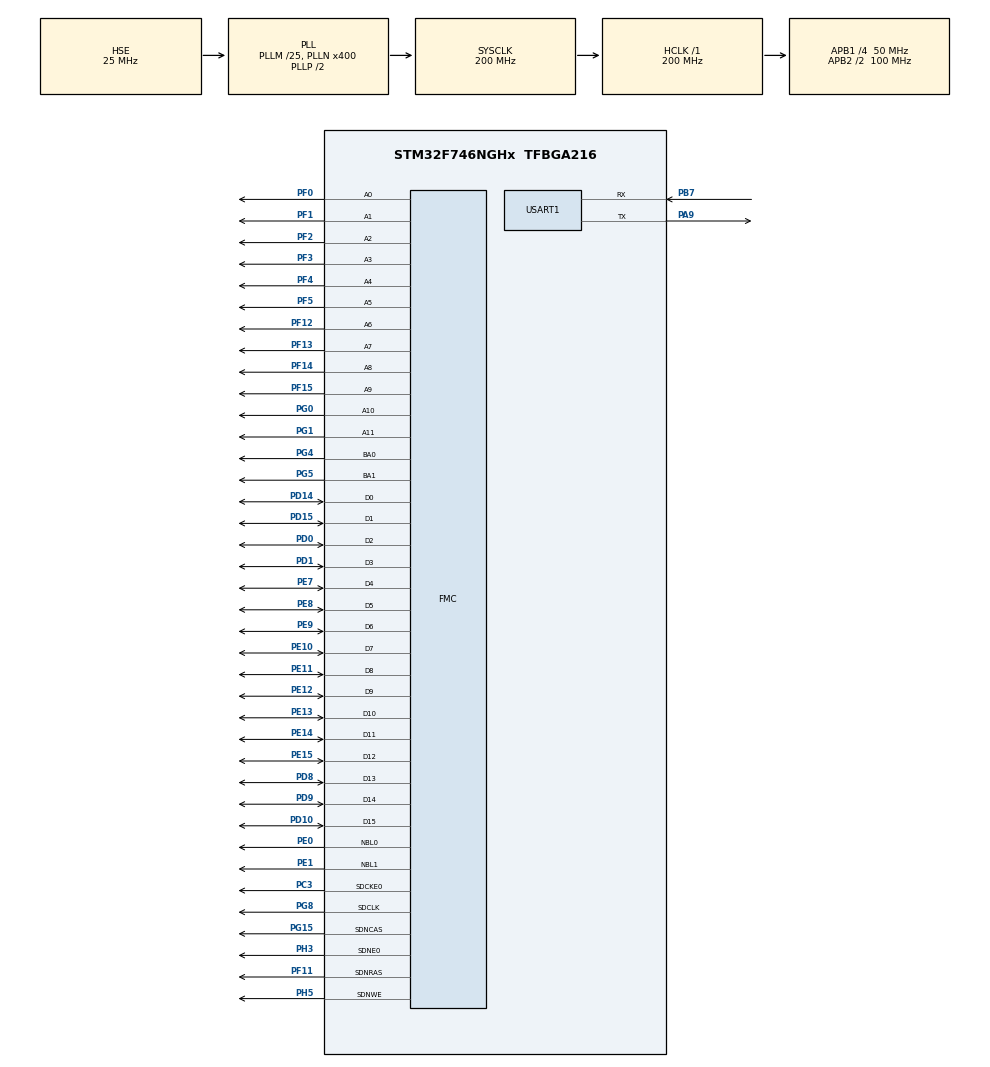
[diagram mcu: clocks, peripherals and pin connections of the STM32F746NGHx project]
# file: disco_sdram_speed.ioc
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CORTEX_M7.ART_ACCELERATOR_ENABLE=0
CORTEX_M7.AccessPermission-Cortex_Memory_Protection_Unit_Region0_Settings=MPU_REGION_NO_ACCESS
CORTEX_M7.AccessPermission-Cortex_Memory_Protection_Unit_Region1_Settings=MPU_REGION_FULL_ACCESS
CORTEX_M7.AccessPermission-Cortex_Memory_Protection_Unit_Region2_Settings=MPU_REGION_FULL_ACCESS
CORTEX_M7.BaseAddress-Cortex_Memory_Protection_Unit_Region0_Settings=0x00
CORTEX_M7.BaseAddress-Cortex_Memory_Protection_Unit_Region1_Settings=0xC0000000
CORTEX_M7.BaseAddress-Cortex_Memory_Protection_Unit_Region2_Settings=0xA0000000
CORTEX_M7.CPU_DCache=Enabled
CORTEX_M7.CPU_ICache=Enabled
CORTEX_M7.DisableExec-Cortex_Memory_Protection_Unit_Region0_Settings=MPU_INSTRUCTION_ACCESS_DISABLE
CORTEX_M7.DisableExec-Cortex_Memory_Protection_Unit_Region1_Settings=MPU_INSTRUCTION_ACCESS_ENABLE
CORTEX_M7.DisableExec-Cortex_Memory_Protection_Unit_Region2_Settings=MPU_INSTRUCTION_ACCESS_DISABLE
CORTEX_M7.Enable-Cortex_Memory_Protection_Unit_Region0_Settings=MPU_REGION_ENABLE
CORTEX_M7.Enable-Cortex_Memory_Protection_Unit_Region1_Settings=MPU_REGION_ENABLE
CORTEX_M7.Enable-Cortex_Memory_Protection_Unit_Region2_Settings=MPU_REGION_ENABLE
CORTEX_M7.IsBufferable-Cortex_Memory_Protection_Unit_Region1_Settings=MPU_ACCESS_BUFFERABLE
CORTEX_M7.IsBufferable-Cortex_Memory_Protection_Unit_Region2_Settings=MPU_ACCESS_BUFFERABLE
CORTEX_M7.IsCacheable-Cortex_Memory_Protection_Unit_Region0_Settings=MPU_ACCESS_NOT_CACHEABLE
CORTEX_M7.IsCacheable-Cortex_Memory_Protection_Unit_Region1_Settings=MPU_ACCESS_CACHEABLE
CORTEX_M7.IsShareable-Cortex_Memory_Protection_Unit_Region0_Settings=MPU_ACCESS_SHAREABLE
CORTEX_M7.IsShareable-Cortex_Memory_Protection_Unit_Region2_Settings=MPU_ACCESS_SHAREABLE
CORTEX_M7.MPU_Control=MPU_PRIVILEGED_DEFAULT
CORTEX_M7.Size-Cortex_Memory_Protection_Unit_Region0_Settings=MPU_REGION_SIZE_4GB
CORTEX_M7.Size-Cortex_Memory_Protection_Unit_Region1_Settings=MPU_REGION_SIZE_16MB
CORTEX_M7.Size-Cortex_Memory_Protection_Unit_Region2_Settings=MPU_REGION_SIZE_8KB
CORTEX_M7.SubRegionDisable-Cortex_Memory_Protection_Unit_Region0_Settings=0x87
CORTEX_M7.SubRegionDisable-Cortex_Memory_Protection_Unit_Region1_Settings=0x00
CORTEX_M7.TypeExtField-Cortex_Memory_Protection_Unit_Region1_Settings=MPU_TEX_LEVEL1
FMC.CASLatency1=FMC_SDRAM_CAS_LATENCY_2
FMC.ExitSelfRefreshDelay1=6
FMC.LoadToActiveDelay1=2
FMC.RCDDelay1=2
FMC.RPDelay1=2
FMC.ReadBurst1=FMC_SDRAM_RBURST_ENABLE
FMC.ReadBurst2=FMC_SDRAM_RBURST_ENABLE
FMC.RowCycleDelay1=6
FMC.SDClockPeriod1=FMC_SDRAM_CLOCK_PERIOD_2
FMC.SDClockPeriod2=FMC_SDRAM_CLOCK_PERIOD_2
FMC.SelfRefreshTime1=4
FMC.WriteRecoveryTime1=2
Mcu.Family=STM32F7
Mcu.Name=STM32F746NGHx
Mcu.Package=TFBGA216
NVIC.FMC_IRQn=true\:0\:0\:false\:false\:true\:true\:true\:true
NVIC.PriorityGroup=NVIC_PRIORITYGROUP_4
NVIC.TIM6_DAC_IRQn=true\:15\:0\:false\:false\:true\:false\:true\:true
NVIC.TimeBase=TIM6_DAC_IRQn
NVIC.TimeBaseIP=TIM6
NVIC.USART1_IRQn=true\:0\:0\:false\:false\:true\:true\:true\:true
PA13.Mode=Serial_Wire
PA13.Signal=SYS_JTMS-SWDIO
PA14.Mode=Serial_Wire
PA14.Signal=SYS_JTCK-SWCLK
PA9.Mode=Asynchronous
PA9.Signal=USART1_TX
PB7.Mode=Asynchronous
PB7.Signal=USART1_RX
PC14/OSC32_IN.Mode=LSE-External-Oscillator
PC14/OSC32_IN.Signal=RCC_OSC32_IN
PC15/OSC32_OUT.Mode=LSE-External-Oscillator
PC15/OSC32_OUT.Signal=RCC_OSC32_OUT
PC3.Mode=SdramChipSelect1_1
PC3.Signal=FMC_SDCKE0
PD0.Signal=FMC_D2_DA2
PD1.Signal=FMC_D3_DA3
PD10.Signal=FMC_D15_DA15
PD14.Signal=FMC_D0_DA0
PD15.Signal=FMC_D1_DA1
PD8.Signal=FMC_D13_DA13
PD9.Signal=FMC_D14_DA14
PE0.Signal=FMC_NBL0
PE1.Signal=FMC_NBL1
PE10.Signal=FMC_D7_DA7
PE11.Signal=FMC_D8_DA8
PE12.Signal=FMC_D9_DA9
PE13.Signal=FMC_D10_DA10
PE14.Signal=FMC_D11_DA11
PE15.Signal=FMC_D12_DA12
PE7.Signal=FMC_D4_DA4
PE8.Signal=FMC_D5_DA5
PE9.Signal=FMC_D6_DA6
PF0.Signal=FMC_A0
PF1.Signal=FMC_A1
PF11.Signal=FMC_SDNRAS
PF12.Signal=FMC_A6
PF13.Signal=FMC_A7
PF14.Signal=FMC_A8
PF15.Signal=FMC_A9
PF2.Signal=FMC_A2
PF3.Signal=FMC_A3
PF4.Signal=FMC_A4
PF5.Signal=FMC_A5
PG0.Signal=FMC_A10
PG1.Signal=FMC_A11
PG15.Signal=FMC_SDNCAS
PG4.Signal=FMC_A14_BA0
PG5.Signal=FMC_A15_BA1
PG8.Signal=FMC_SDCLK
PH0/OSC_IN.Mode=HSE-External-Oscillator
PH0/OSC_IN.Signal=RCC_OSC_IN
PH1/OSC_OUT.Mode=HSE-External-Oscillator
PH1/OSC_OUT.Signal=RCC_OSC_OUT
PH3.Mode=SdramChipSelect1_1
PH3.Signal=FMC_SDNE0
PH5.Signal=FMC_SDNWE
ProjectManager.HeapSize=0x200
ProjectManager.StackSize=0x400
ProjectManager.TargetToolchain=STM32CubeIDE
RCC.AHBFreq_Value=200000000
RCC.APB1CLKDivider=RCC_HCLK_DIV4
RCC.APB1Freq_Value=50000000
RCC.APB1TimFreq_Value=100000000
RCC.APB2CLKDivider=RCC_HCLK_DIV2
RCC.APB2Freq_Value=100000000
RCC.APB2TimFreq_Value=200000000
RCC.CortexFreq_Value=200000000
RCC.HCLKFreq_Value=200000000
RCC.HSE_VALUE=25000000
RCC.HSI_VALUE=16000000
RCC.PLL48CLockSelection=RCC_CLK48SOURCE_PLLSAIP
RCC.PLLI2SN=100
RCC.PLLM=25
RCC.PLLN=400
RCC.PLLQ=9
RCC.PLLSAIN=384
RCC.PLLSAIP=RCC_PLLSAIP_DIV8
RCC.PLLSAIR=5
RCC.PLLSAIRDiv=RCC_PLLSAIDIVR_8
RCC.PLLSourceVirtual=RCC_PLLSOURCE_HSE
RCC.SDMMCClockSelection=RCC_SDMMC1CLKSOURCE_CLK48
RCC.SYSCLKFreq_VALUE=200000000
RCC.SYSCLKSource=RCC_SYSCLKSOURCE_PLLCLK
RCC.USBFreq_Value=48000000
RCC.VCOOutputFreq_Value=400000000
SH.FMC_A0.0=FMC_A0,12b-sda1
SH.FMC_A1.0=FMC_A1,12b-sda1
SH.FMC_A10.0=FMC_A10,12b-sda1
SH.FMC_A11.0=FMC_A11,12b-sda1
SH.FMC_A14_BA0.0=FMC_BA0,FourSdramBanks1
SH.FMC_A15_BA1.0=FMC_BA1,FourSdramBanks1
SH.FMC_A2.0=FMC_A2,12b-sda1
SH.FMC_A3.0=FMC_A3,12b-sda1
SH.FMC_A4.0=FMC_A4,12b-sda1
SH.FMC_A5.0=FMC_A5,12b-sda1
SH.FMC_A6.0=FMC_A6,12b-sda1
SH.FMC_A7.0=FMC_A7,12b-sda1
SH.FMC_A8.0=FMC_A8,12b-sda1
SH.FMC_A9.0=FMC_A9,12b-sda1
SH.FMC_D0_DA0.0=FMC_D0,sd-16b-d1
SH.FMC_D10_DA10.0=FMC_D10,sd-16b-d1
SH.FMC_D11_DA11.0=FMC_D11,sd-16b-d1
SH.FMC_D12_DA12.0=FMC_D12,sd-16b-d1
SH.FMC_D13_DA13.0=FMC_D13,sd-16b-d1
SH.FMC_D14_DA14.0=FMC_D14,sd-16b-d1
SH.FMC_D15_DA15.0=FMC_D15,sd-16b-d1
SH.FMC_D1_DA1.0=FMC_D1,sd-16b-d1
SH.FMC_D2_DA2.0=FMC_D2,sd-16b-d1
SH.FMC_D3_DA3.0=FMC_D3,sd-16b-d1
SH.FMC_D4_DA4.0=FMC_D4,sd-16b-d1
SH.FMC_D5_DA5.0=FMC_D5,sd-16b-d1
SH.FMC_D6_DA6.0=FMC_D6,sd-16b-d1
SH.FMC_D7_DA7.0=FMC_D7,sd-16b-d1
SH.FMC_D8_DA8.0=FMC_D8,sd-16b-d1
SH.FMC_D9_DA9.0=FMC_D9,sd-16b-d1
SH.FMC_NBL0.0=FMC_NBL0,Sd2ByteEnable1
SH.FMC_NBL1.0=FMC_NBL1,Sd2ByteEnable1
SH.FMC_SDCLK.0=FMC_SDCLK,12b-sda1
SH.FMC_SDNCAS.0=FMC_SDNCAS,12b-sda1
SH.FMC_SDNRAS.0=FMC_SDNRAS,12b-sda1
SH.FMC_SDNWE.0=FMC_SDNWE,12b-sda1
USART1.VirtualMode-Asynchronous=VM_ASYNC
VP_SYS_VS_tim6.Mode=TIM6
board=STM32F746G-DISCO

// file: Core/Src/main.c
/* USER CODE BEGIN Header */
/**
  ******************************************************************************
  * @file           : main.c
  * @brief          : Main program body
  ******************************************************************************
  * @attention
  *
  * Copyright (c) 2025 STMicroelectronics.
  * All rights reserved.
  *
  * This software is licensed under terms that can be found in the LICENSE file
  * in the root directory of this software component.
  * If no LICENSE file comes with this software, it is provided AS-IS.
  *
  ******************************************************************************
  */
/* USER CODE END Header */
#include "main.h"

/* USER CODE BEGIN Includes */
#include <stdio.h>
#include <string.h>
/* USER CODE END Includes */

UART_HandleTypeDef huart1;

SDRAM_HandleTypeDef hsdram1;

/* USER CODE BEGIN PV */
FMC_SDRAM_CommandTypeDef command;
/* USER CODE END PV */

void SystemClock_Config(void);
static void MPU_Config(void);
static void MX_GPIO_Init(void);
static void MX_FMC_Init(void);
static void MX_USART1_UART_Init(void);
/* USER CODE BEGIN PFP */
static void BSP_SDRAM_Initialization_Sequence(SDRAM_HandleTypeDef *hsdram, FMC_SDRAM_CommandTypeDef *Command);

/* USER CODE END PFP */

/* USER CODE BEGIN 0 */
int _write(int file, char *ptr, int len) {
    for (int i = 0; i < len; i++) {
        HAL_UART_Transmit(&huart1, (uint8_t *)&ptr[i], 1, HAL_MAX_DELAY);
    }
    return len;
}

#define SDRAM_SIZE (6 * 1024 * 1024)  // 6MB SDRAM
#define SDRAM_BANK_ADDR 0xC0000000

void fill_sdram(void)
{
	printf("-----6mb wr test\n");
    uint32_t start_time, elapsed_time;

    start_time = HAL_GetTick();
    for (uint32_t i = 0; i < SDRAM_SIZE; i += sizeof(uint8_t)) {
        *(__IO uint8_t*) (SDRAM_BANK_ADDR + i) = 0x0;
    }
    elapsed_time = HAL_GetTick() - start_time;
    float write_speed_mb_s = ((float)SDRAM_SIZE / (1024.0f * 1024.0f)) / (elapsed_time / 1000.0f);
    printf("uint8_t  Gecen suresi: %lu ms.. Yazma hizi: %.2f MB/s\n", elapsed_time,write_speed_mb_s);

    start_time = HAL_GetTick();
    for (uint32_t i = 0; i < SDRAM_SIZE; i += sizeof(uint16_t)) {
        *(__IO uint16_t*) (SDRAM_BANK_ADDR + i) = 0x0;
    }
    elapsed_time = HAL_GetTick() - start_time;
    write_speed_mb_s = ((float)SDRAM_SIZE / (1024.0f * 1024.0f)) / (elapsed_time / 1000.0f);
    printf("uint16_t Gecen suresi: %lu ms.. Yazma hizi: %.2f MB/s\n", elapsed_time,write_speed_mb_s);

    start_time = HAL_GetTick();
    for (uint32_t i = 0; i < SDRAM_SIZE; i += sizeof(uint32_t)) {
        *(__IO uint32_t*) (SDRAM_BANK_ADDR + i) = 0x0;
    }
    elapsed_time = HAL_GetTick() - start_time;
    write_speed_mb_s = ((float)SDRAM_SIZE / (1024.0f * 1024.0f)) / (elapsed_time / 1000.0f);
    printf("uint32_t Gecen suresi: %lu ms.. Yazma hizi: %.2f MB/s\n", elapsed_time,write_speed_mb_s);

    start_time = HAL_GetTick();
    for (uint32_t i = 0; i < SDRAM_SIZE; i += sizeof(uint64_t)) {
        *(__IO uint64_t*) (SDRAM_BANK_ADDR + i) = 0x0102030405060708;
    }
    elapsed_time = HAL_GetTick() - start_time;
    write_speed_mb_s = ((float)SDRAM_SIZE / (1024.0f * 1024.0f)) / (elapsed_time / 1000.0f);
    printf("uint64_t Gecen suresi: %lu ms.. Yazma hizi: %.2f MB/s\n", elapsed_time,write_speed_mb_s);

}

__IO uint8_t rxdata8;
__IO uint16_t rxdata16;
__IO uint32_t rxdata32;
__IO uint64_t rxdata64;
void read_sdram(void)
{
	printf("-----6mb rd test\n");
    uint32_t start_time, elapsed_time;

    float read_speed_mb_s;

    start_time = HAL_GetTick();
    for (uint32_t i = 0; i < SDRAM_SIZE; i += sizeof(uint8_t)) {
        rxdata8 = *(__IO uint8_t*) (SDRAM_BANK_ADDR + i);
    }
    elapsed_time = HAL_GetTick() - start_time;
    read_speed_mb_s = ((float)SDRAM_SIZE / (1024.0f * 1024.0f)) / ((float)elapsed_time / 1000.0f);
    printf("uint8_t   Okuma suresi: %lu ms.. Okuma hizi: %.2f MB/s\n", elapsed_time, read_speed_mb_s);

    start_time = HAL_GetTick();
    for (uint32_t i = 0; i < SDRAM_SIZE; i += sizeof(uint16_t)) {
        rxdata16 = *(__IO uint16_t*) (SDRAM_BANK_ADDR + i);
    }
    elapsed_time = HAL_GetTick() - start_time;
    read_speed_mb_s = ((float)SDRAM_SIZE / (1024.0f * 1024.0f)) / ((float)elapsed_time / 1000.0f);
    printf("uint16_t Okuma suresi: %lu ms.. Okuma hizi: %.2f MB/s\n", elapsed_time, read_speed_mb_s);

    start_time = HAL_GetTick();
    for (uint32_t i = 0; i < SDRAM_SIZE; i += sizeof(uint32_t)) {
        rxdata32 = *(__IO uint32_t*) (SDRAM_BANK_ADDR + i);
    }
    elapsed_time = HAL_GetTick() - start_time;
    read_speed_mb_s = ((float)SDRAM_SIZE / (1024.0f * 1024.0f)) / ((float)elapsed_time / 1000.0f);
    printf("uint32_t Okuma suresi: %lu ms.. Okuma hizi: %.2f MB/s\n", elapsed_time, read_speed_mb_s);

    start_time = HAL_GetTick();
    for (uint32_t i = 0; i < SDRAM_SIZE; i += sizeof(uint64_t)) {
        rxdata64 = *(__IO uint64_t*) (SDRAM_BANK_ADDR + i);
    }
    elapsed_time = HAL_GetTick() - start_time;
    read_speed_mb_s = ((float)SDRAM_SIZE / (1024.0f * 1024.0f)) / ((float)elapsed_time / 1000.0f);
    printf("uint64_t Okuma suresi: %lu ms.. Okuma hizi: %.2f MB/s\n", elapsed_time, read_speed_mb_s);
}

/* USER CODE END 0 */

int main(void)
{

  /* MPU Configuration--------------------------------------------------------*/
  MPU_Config();

  /* Enable the CPU Cache */

  /* Enable I-Cache---------------------------------------------------------*/
  SCB_EnableICache();

  /* Enable D-Cache---------------------------------------------------------*/
  SCB_EnableDCache();

  /* MCU Configuration--------------------------------------------------------*/

  /* Reset of all peripherals, Initializes the Flash interface and the Systick. */
  HAL_Init();

  /* Configure the system clock */
  SystemClock_Config();

  /* Initialize all configured peripherals */
  MX_GPIO_Init();
  MX_FMC_Init();
  MX_USART1_UART_Init();
  /* USER CODE BEGIN 2 */
  BSP_SDRAM_Initialization_Sequence(&hsdram1, &command);
  setvbuf(stdout, NULL, _IONBF, 0);
  printf("Sdram speed test\r\n");

  fill_sdram();
  read_sdram();

  /* USER CODE END 2 */

  /* Infinite loop */
  while (1)
  {

  }
}

void SystemClock_Config(void)
{
  RCC_OscInitTypeDef RCC_OscInitStruct = {0};
  RCC_ClkInitTypeDef RCC_ClkInitStruct = {0};

  /** Configure LSE Drive Capability
  */
  HAL_PWR_EnableBkUpAccess();

  /** Configure the main internal regulator output voltage
  */
  __HAL_RCC_PWR_CLK_ENABLE();
  __HAL_PWR_VOLTAGESCALING_CONFIG(PWR_REGULATOR_VOLTAGE_SCALE1);

  /** Initializes the RCC Oscillators according to the specified parameters
  * in the RCC_OscInitTypeDef structure.
  */
  RCC_OscInitStruct.OscillatorType = RCC_OSCILLATORTYPE_HSE;
  RCC_OscInitStruct.HSEState = RCC_HSE_ON;
  RCC_OscInitStruct.PLL.PLLState = RCC_PLL_ON;
  RCC_OscInitStruct.PLL.PLLSource = RCC_PLLSOURCE_HSE;
  RCC_OscInitStruct.PLL.PLLM = 25;
  RCC_OscInitStruct.PLL.PLLN = 400;
  RCC_OscInitStruct.PLL.PLLP = RCC_PLLP_DIV2;
  RCC_OscInitStruct.PLL.PLLQ = 9;
  if (HAL_RCC_OscConfig(&RCC_OscInitStruct) != HAL_OK)
  {
    Error_Handler();
  }

  /** Activate the Over-Drive mode
  */
  if (HAL_PWREx_EnableOverDrive() != HAL_OK)
  {
    Error_Handler();
  }

  /** Initializes the CPU, AHB and APB buses clocks
  */
  RCC_ClkInitStruct.ClockType = RCC_CLOCKTYPE_HCLK|RCC_CLOCKTYPE_SYSCLK
                              |RCC_CLOCKTYPE_PCLK1|RCC_CLOCKTYPE_PCLK2;
  RCC_ClkInitStruct.SYSCLKSource = RCC_SYSCLKSOURCE_PLLCLK;
  RCC_ClkInitStruct.AHBCLKDivider = RCC_SYSCLK_DIV1;
  RCC_ClkInitStruct.APB1CLKDivider = RCC_HCLK_DIV4;
  RCC_ClkInitStruct.APB2CLKDivider = RCC_HCLK_DIV2;

  if (HAL_RCC_ClockConfig(&RCC_ClkInitStruct, FLASH_LATENCY_6) != HAL_OK)
  {
    Error_Handler();
  }
}

static void MX_USART1_UART_Init(void)
{

  huart1.Instance = USART1;
  huart1.Init.BaudRate = 115200;
  huart1.Init.WordLength = UART_WORDLENGTH_8B;
  huart1.Init.StopBits = UART_STOPBITS_1;
  huart1.Init.Parity = UART_PARITY_NONE;
  huart1.Init.Mode = UART_MODE_TX_RX;
  huart1.Init.HwFlowCtl = UART_HWCONTROL_NONE;
  huart1.Init.OverSampling = UART_OVERSAMPLING_16;
  huart1.Init.OneBitSampling = UART_ONE_BIT_SAMPLE_DISABLE;
  huart1.AdvancedInit.AdvFeatureInit = UART_ADVFEATURE_NO_INIT;
  if (HAL_UART_Init(&huart1) != HAL_OK)
  {
    Error_Handler();
  }

}

/* FMC initialization function */
static void MX_FMC_Init(void)
{

  FMC_SDRAM_TimingTypeDef SdramTiming = {0};

  /** Perform the SDRAM1 memory initialization sequence
  */
  hsdram1.Instance = FMC_SDRAM_DEVICE;
  /* hsdram1.Init */
  hsdram1.Init.SDBank = FMC_SDRAM_BANK1;
  hsdram1.Init.ColumnBitsNumber = FMC_SDRAM_COLUMN_BITS_NUM_8;
  hsdram1.Init.RowBitsNumber = FMC_SDRAM_ROW_BITS_NUM_12;
  hsdram1.Init.MemoryDataWidth = FMC_SDRAM_MEM_BUS_WIDTH_16;
  hsdram1.Init.InternalBankNumber = FMC_SDRAM_INTERN_BANKS_NUM_4;
  hsdram1.Init.CASLatency = FMC_SDRAM_CAS_LATENCY_2;
  hsdram1.Init.WriteProtection = FMC_SDRAM_WRITE_PROTECTION_DISABLE;
  hsdram1.Init.SDClockPeriod = FMC_SDRAM_CLOCK_PERIOD_2;
  hsdram1.Init.ReadBurst = FMC_SDRAM_RBURST_ENABLE;
  hsdram1.Init.ReadPipeDelay = FMC_SDRAM_RPIPE_DELAY_0;
  /* SdramTiming */
  SdramTiming.LoadToActiveDelay = 2;
  SdramTiming.ExitSelfRefreshDelay = 6;
  SdramTiming.SelfRefreshTime = 4;
  SdramTiming.RowCycleDelay = 6;
  SdramTiming.WriteRecoveryTime = 2;
  SdramTiming.RPDelay = 2;
  SdramTiming.RCDDelay = 2;

  if (HAL_SDRAM_Init(&hsdram1, &SdramTiming) != HAL_OK)
  {
    Error_Handler( );
  }

}

static void MX_GPIO_Init(void)
{

  /* GPIO Ports Clock Enable */
  __HAL_RCC_GPIOE_CLK_ENABLE();
  __HAL_RCC_GPIOA_CLK_ENABLE();
  __HAL_RCC_GPIOB_CLK_ENABLE();
  __HAL_RCC_GPIOG_CLK_ENABLE();
  __HAL_RCC_GPIOD_CLK_ENABLE();
  __HAL_RCC_GPIOF_CLK_ENABLE();
  __HAL_RCC_GPIOC_CLK_ENABLE();
  __HAL_RCC_GPIOH_CLK_ENABLE();

}

/* USER CODE BEGIN 4 */

/**
  * @brief  Perform the SDRAM external memory initialization sequence
  * @param  hsdram: SDRAM handle
  * @param  Command: Pointer to SDRAM command structure
  * @retval None
  */
static void BSP_SDRAM_Initialization_Sequence(SDRAM_HandleTypeDef *hsdram, FMC_SDRAM_CommandTypeDef *Command)
{
  __IO uint32_t tmpmrd =0;
  /* Step 3:  Configure a clock configuration enable command */
  Command->CommandMode = FMC_SDRAM_CMD_CLK_ENABLE;
  Command->CommandTarget = FMC_SDRAM_CMD_TARGET_BANK1;
  Command->AutoRefreshNumber = 1;
  Command->ModeRegisterDefinition = 0;

  /* Send the command */
  HAL_SDRAM_SendCommand(hsdram, Command, SDRAM_TIMEOUT);

  /* Step 4: Insert 100 us minimum delay */
  /* Inserted delay is equal to 1 ms due to systick time base unit (ms) */
  HAL_Delay(1);

  /* Step 5: Configure a PALL (precharge all) command */
  Command->CommandMode = FMC_SDRAM_CMD_PALL;
  Command->CommandTarget = FMC_SDRAM_CMD_TARGET_BANK1;
  Command->AutoRefreshNumber = 1;
  Command->ModeRegisterDefinition = 0;

  /* Send the command */
  HAL_SDRAM_SendCommand(hsdram, Command, SDRAM_TIMEOUT);

  /* Step 6 : Configure a Auto-Refresh command */
  Command->CommandMode = FMC_SDRAM_CMD_AUTOREFRESH_MODE;
  Command->CommandTarget = FMC_SDRAM_CMD_TARGET_BANK1;
  Command->AutoRefreshNumber = 8;
  Command->ModeRegisterDefinition = 0;

  /* Send the command */
  HAL_SDRAM_SendCommand(hsdram, Command, SDRAM_TIMEOUT);

  /* Step 7: Program the external memory mode register */
  tmpmrd = (uint32_t)SDRAM_MODEREG_BURST_LENGTH_1          |
                     SDRAM_MODEREG_BURST_TYPE_SEQUENTIAL   |
                     SDRAM_MODEREG_CAS_LATENCY_2           |
                     SDRAM_MODEREG_OPERATING_MODE_STANDARD |
                     SDRAM_MODEREG_WRITEBURST_MODE_SINGLE;

  Command->CommandMode = FMC_SDRAM_CMD_LOAD_MODE;
  Command->CommandTarget = FMC_SDRAM_CMD_TARGET_BANK1;
  Command->AutoRefreshNumber = 1;
  Command->ModeRegisterDefinition = tmpmrd;

  /* Send the command */
  HAL_SDRAM_SendCommand(hsdram, Command, SDRAM_TIMEOUT);

  /* Step 8: Set the refresh rate counter */
  /* (15.62 us x Freq) - 20 */
  /* Set the device refresh counter */
  hsdram->Instance->SDRTR |= ((uint32_t)((1292)<< 1));

}

/* USER CODE END 4 */

 /* MPU Configuration */

void MPU_Config(void)
{
  MPU_Region_InitTypeDef MPU_InitStruct = {0};

  /* Disables the MPU */
  HAL_MPU_Disable();

  /** Initializes and configures the Region and the memory to be protected
  */
  MPU_InitStruct.Enable = MPU_REGION_ENABLE;
  MPU_InitStruct.Number = MPU_REGION_NUMBER0;
  MPU_InitStruct.BaseAddress = 0x00;
  MPU_InitStruct.Size = MPU_REGION_SIZE_4GB;
  MPU_InitStruct.SubRegionDisable = 0x87;
  MPU_InitStruct.TypeExtField = MPU_TEX_LEVEL0;
  MPU_InitStruct.AccessPermission = MPU_REGION_NO_ACCESS;
  MPU_InitStruct.DisableExec = MPU_INSTRUCTION_ACCESS_DISABLE;
  MPU_InitStruct.IsShareable = MPU_ACCESS_SHAREABLE;
  MPU_InitStruct.IsCacheable = MPU_ACCESS_NOT_CACHEABLE;
  MPU_InitStruct.IsBufferable = MPU_ACCESS_NOT_BUFFERABLE;

  HAL_MPU_ConfigRegion(&MPU_InitStruct);

  /** Initializes and configures the Region and the memory to be protected
  */
  MPU_InitStruct.Number = MPU_REGION_NUMBER1;
  MPU_InitStruct.BaseAddress = 0xC0000000;
  MPU_InitStruct.Size = MPU_REGION_SIZE_16MB;
  MPU_InitStruct.SubRegionDisable = 0x00;
  MPU_InitStruct.TypeExtField = MPU_TEX_LEVEL1;
  MPU_InitStruct.AccessPermission = MPU_REGION_FULL_ACCESS;
  MPU_InitStruct.DisableExec = MPU_INSTRUCTION_ACCESS_ENABLE;
  MPU_InitStruct.IsShareable = MPU_ACCESS_NOT_SHAREABLE;
  MPU_InitStruct.IsCacheable = MPU_ACCESS_CACHEABLE;
  MPU_InitStruct.IsBufferable = MPU_ACCESS_BUFFERABLE;

  HAL_MPU_ConfigRegion(&MPU_InitStruct);

  /** Initializes and configures the Region and the memory to be protected
  */
  MPU_InitStruct.Number = MPU_REGION_NUMBER2;
  MPU_InitStruct.BaseAddress = 0xA0000000;
  MPU_InitStruct.Size = MPU_REGION_SIZE_8KB;
  MPU_InitStruct.SubRegionDisable = 0x0;
  MPU_InitStruct.TypeExtField = MPU_TEX_LEVEL0;
  MPU_InitStruct.DisableExec = MPU_INSTRUCTION_ACCESS_DISABLE;
  MPU_InitStruct.IsShareable = MPU_ACCESS_SHAREABLE;
  MPU_InitStruct.IsCacheable = MPU_ACCESS_NOT_CACHEABLE;

  HAL_MPU_ConfigRegion(&MPU_InitStruct);
  /* Enables the MPU */
  HAL_MPU_Enable(MPU_PRIVILEGED_DEFAULT);

}

void HAL_TIM_PeriodElapsedCallback(TIM_HandleTypeDef *htim)
{
  if (htim->Instance == TIM6) {
    HAL_IncTick();
  }
}

void Error_Handler(void)
{
  __disable_irq();
  while (1)
  {
  }
}
